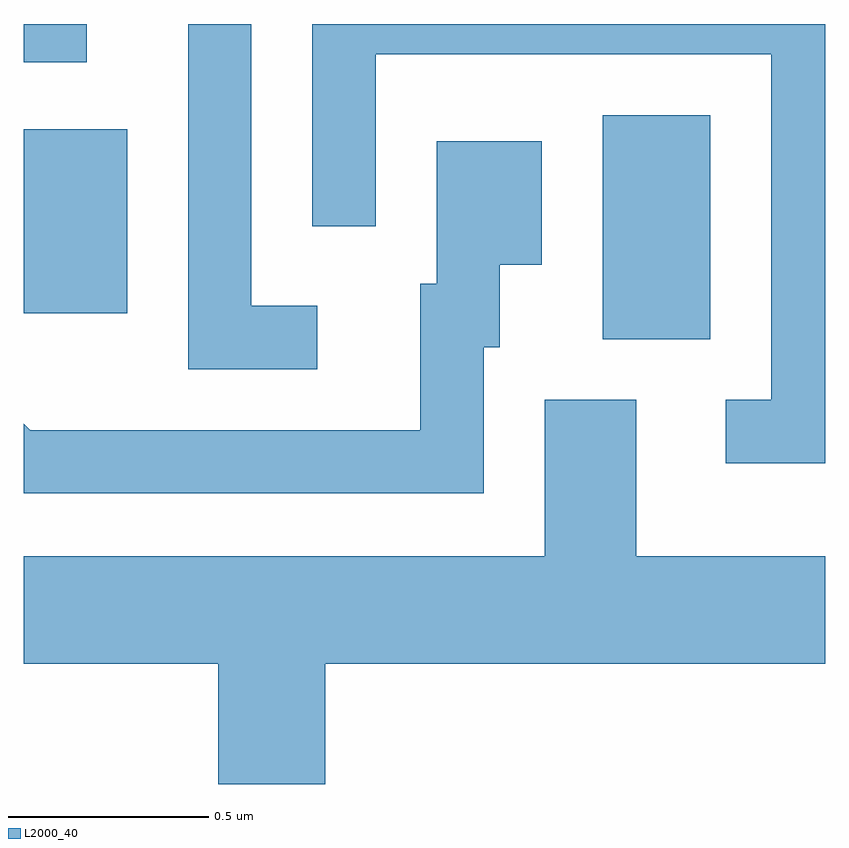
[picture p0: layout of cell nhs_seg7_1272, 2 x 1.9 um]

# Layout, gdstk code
import gdstk
lib = gdstk.Library(unit=1e-6, precision=1e-09)
def R(c, l, rs):  # rectangles x0, y0, x1, y1
    for r in rs: c.add(gdstk.rectangle(r[:2], r[2:], *l))
def P(c, l, *ps):  # polygons
    for p in ps: c.add(gdstk.Polygon(p, *l))
L2000_40 = (2000, 40)

nhs_seg7_1272 = lib.new_cell('nhs_seg7_1272')
R(nhs_seg7_1272, L2000_40, [(196.056,1708.466,196.324,1709.024), (194.611,1708.531,194.869,1708.989), (194.611,1709.156,194.768,1709.252)])
P(nhs_seg7_1272, L2000_40, [(195.343,1708.549),(195.179,1708.549),(195.179,1709.252),(195.021,1709.252),(195.021,1708.391),(195.343,1708.391)],
  [(196.611,1709.252),(195.331,1709.252),(195.331,1708.748),(195.489,1708.748),(195.489,1709.176),(196.476,1709.176),(196.476,1708.314),(196.363,1708.314),(196.363,1708.156),(196.611,1708.156)],
  [(195.759,1708.446),(195.799,1708.446),(195.799,1708.651),(195.904,1708.651),(195.904,1708.959),(195.641,1708.959),(195.641,1708.604),(195.601,1708.604),(195.601,1708.239),(194.627,1708.239),(194.611,1708.255),(194.611,1708.081),(195.759,1708.081)],
  [(195.364,1707.656),(196.611,1707.656),(196.611,1707.924),(196.139,1707.924),(196.139,1708.314),(195.911,1708.314),(195.911,1707.924),(194.611,1707.924),(194.611,1707.656),(195.096,1707.656),(195.096,1707.356),(195.364,1707.356)])

lib.write_gds('nhs_seg7_1272.gds')
